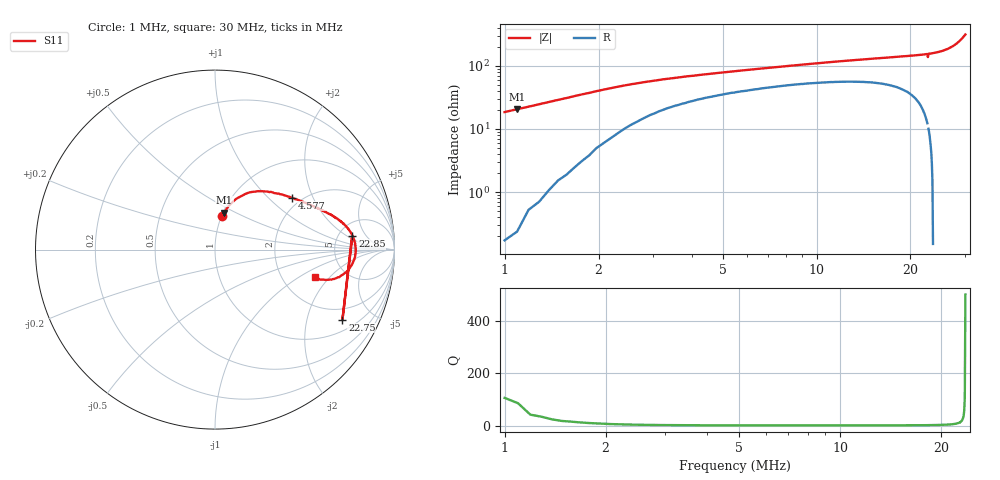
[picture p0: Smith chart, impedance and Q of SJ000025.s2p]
!File created by NanoVNA-F V2
# Hz S RI R 50
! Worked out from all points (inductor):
!   301 points, 1 MHz to 30 MHz, reference 50 ohm
!   read as one part in series: L = 3.11 uH near 1.097 MHz
!   highest Q = 86.3 at 1.097 MHz (marker M1), where L = 2.98 uH
!   S11 on the Smith chart (normalised r, x): 1 MHz: 1.01, +0.39; 4.577 MHz: 1.79, +1.42; 22.75 MHz: 1.45, -3.30; 22.85 MHz: 6.72, +2.52; 30 MHz: 3.01, -1.39
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1000000  0.0416 0.1864  0.9653 -0.1784  0 0  0 0
1096666  0.051 0.2057  0.9573 -0.1964  0 0  0 0
1386664  0.0886 0.2552  0.9249 -0.2441  0 0  0 0
1676662  0.1377 0.2937  0.8837 -0.2853  0 0  0 0
2256658  0.2389 0.3256  0.7897 -0.3286  0 0  0 0
2739988  0.3026 0.3204  0.7243 -0.3316  0 0  0 0
3223318  0.3481 0.3116  0.677 -0.3246  0 0  0 0
4576642  0.4314 0.2895  0.6 -0.3057  0 0  0 0
5833300  0.4807 0.2704  0.5561 -0.2975  0 0  0 0
7959952  0.5409 0.2447  0.5048 -0.2907  0 0  0 0
1.06666e7  0.5928 0.2212  0.4605 -0.293  0 0  0 0
1.54999e7  0.6645 0.1831  0.4065 -0.3154  0 0  0 0
2.03332e7  0.7321 0.1274  0.3538 -0.3746  0 0  0 0
2.265318e7  0.7641 0.0822  0.3117 -0.4246  0 0  0 0
2.274985e7  0.7101 -0.3902  0.122 -0.9185  0 0  0 0
2.284652e7  0.766 0.0764  0.3071 -0.4298  0 0  0 0
2.410317e7  0.7797 0.0396  0.2684 -0.4649  0 0  0 0
2.51665e7  0.7849 -0.000414  0.219 -0.4968  0 0  0 0
2.680982e7  0.7634 -0.0825  0.1012 -0.5313  0 0  0 0
2.787315e7  0.7181 -0.1348  -0.00388 -0.5202  0 0  0 0
2.883981e7  0.6497 -0.1671  -0.1029 -0.4667  0 0  0 0
2.99998e7  0.555 -0.1543  -0.1859 -0.3492  0 0  0 0
